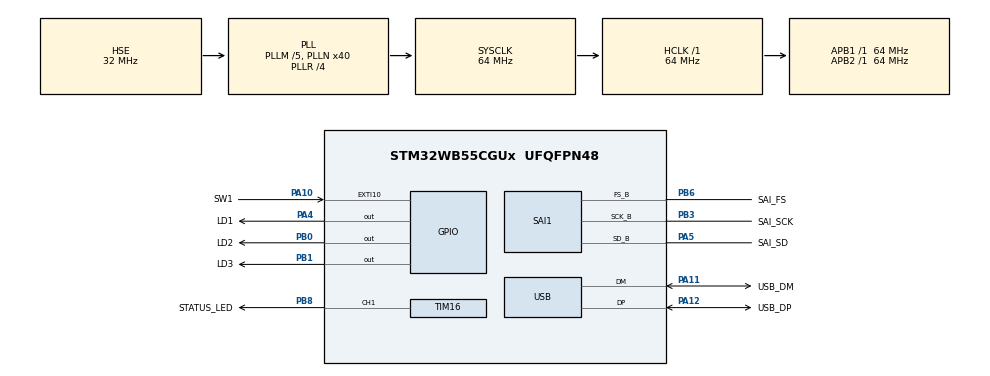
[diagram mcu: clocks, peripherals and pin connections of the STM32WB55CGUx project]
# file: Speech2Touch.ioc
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Dma.Request0=SAI1_B
Dma.SAI1_B.0.Direction=DMA_PERIPH_TO_MEMORY
Dma.SAI1_B.0.EventEnable=DISABLE
Dma.SAI1_B.0.Instance=DMA2_Channel1
Dma.SAI1_B.0.MemDataAlignment=DMA_MDATAALIGN_WORD
Dma.SAI1_B.0.MemInc=DMA_MINC_ENABLE
Dma.SAI1_B.0.Mode=DMA_CIRCULAR
Dma.SAI1_B.0.PeriphDataAlignment=DMA_PDATAALIGN_WORD
Dma.SAI1_B.0.PeriphInc=DMA_PINC_DISABLE
Dma.SAI1_B.0.Polarity=HAL_DMAMUX_REQ_GEN_RISING
Dma.SAI1_B.0.Priority=DMA_PRIORITY_VERY_HIGH
Dma.SAI1_B.0.RequestNumber=1
Dma.SAI1_B.0.SignalID=NONE
Dma.SAI1_B.0.SyncEnable=DISABLE
Dma.SAI1_B.0.SyncPolarity=HAL_DMAMUX_SYNC_NO_EVENT
Dma.SAI1_B.0.SyncRequestNumber=1
Dma.SAI1_B.0.SyncSignalID=NONE
Mcu.Family=STM32WB
Mcu.Name=STM32WB55CGUx
Mcu.Package=UFQFPN48
NVIC.DMA2_Channel1_IRQn=true\:0\:0\:false\:false\:true\:false\:false\:true\:true
NVIC.EXTI15_10_IRQn=true\:15\:0\:true\:false\:true\:false\:true\:true\:true
NVIC.PriorityGroup=NVIC_PRIORITYGROUP_4
NVIC.SAI1_IRQn=true\:1\:0\:true\:false\:true\:false\:true\:true\:true
NVIC.TIM1_TRG_COM_TIM17_IRQn=true\:15\:0\:false\:false\:true\:false\:false\:true\:true
NVIC.TIM1_UP_TIM16_IRQn=true\:0\:0\:false\:false\:true\:false\:true\:true\:true
NVIC.TimeBase=TIM1_TRG_COM_TIM17_IRQn
NVIC.TimeBaseIP=TIM17
NVIC.USB_LP_IRQn=true\:0\:0\:false\:false\:true\:false\:true\:true\:true
OSC_IN.Mode=HSE-External-Oscillator
OSC_IN.Signal=RCC_OSC_IN
OSC_OUT.Mode=HSE-External-Oscillator
OSC_OUT.Signal=RCC_OSC_OUT
PA10.GPIO_Label=SW1
PA10.GPIO_ModeDefaultEXTI=GPIO_MODE_IT_FALLING
PA10.GPIO_PuPd=GPIO_PULLUP
PA10.Signal=GPXTI10
PA11.GPIO_Label=USB_DM
PA11.Mode=Device
PA11.Signal=USB_DM
PA12.GPIO_Label=USB_DP
PA12.Mode=Device
PA12.Signal=USB_DP
PA13.GPIO_Label=SWDIO
PA13.Mode=Serial_Wire
PA13.Signal=SYS_JTMS-SWDIO
PA14.GPIO_Label=SWCLK
PA14.Mode=Serial_Wire
PA14.Signal=SYS_JTCK-SWCLK
PA4.GPIO_Label=LD1
PA4.PinState=GPIO_PIN_SET
PA4.Signal=GPIO_Output
PA5.GPIO_Label=SAI_SD
PA5.GPIO_PuPd=GPIO_NOPULL
PA5.Mode=SAI_B_Master
PA5.Signal=SAI1_SD_B
PB0.GPIO_Label=LD2
PB0.PinState=GPIO_PIN_SET
PB0.Signal=GPIO_Output
PB1.GPIO_Label=LD3
PB1.PinState=GPIO_PIN_SET
PB1.Signal=GPIO_Output
PB3.GPIO_Label=SAI_SCK
PB3.Mode=SAI_B_Master
PB3.Signal=SAI1_SCK_B
PB6.GPIO_Label=SAI_FS
PB6.Mode=SAI_B_Master
PB6.Signal=SAI1_FS_B
PB8.GPIO_Label=STATUS_LED
PB8.Signal=S_TIM16_CH1
ProjectManager.HeapSize=0x200
ProjectManager.StackSize=0x400
ProjectManager.TargetToolchain=CMake
RCC.ADCFreq_Value=51200000
RCC.AHB2CLKDivider=RCC_SYSCLK_DIV2
RCC.AHBFreq_Value=64000000
RCC.APB1Freq_Value=64000000
RCC.APB1TimFreq_Value=64000000
RCC.APB2Freq_Value=64000000
RCC.APB2TimFreq_Value=64000000
RCC.APB3Freq_Value=16000000
RCC.CK48CLockSelection=RCC_USBCLKSOURCE_HSI48
RCC.Cortex2_Div=SYSTICK_CLKSOURCE_HCLK_DIV8
RCC.CortexFreq_Value=64000000
RCC.HCLKFreq_Value=64000000
RCC.HSE_VALUE=32000000
RCC.HSI48_VALUE=48000000
RCC.HSI_VALUE=16000000
RCC.LSE_VALUE=32768
RCC.MSIClockRange=RCC_MSIRANGE_10
RCC.PLLM=RCC_PLLM_DIV5
RCC.PLLN=40
RCC.PLLR=RCC_PLLR_DIV4
RCC.PLLSAI1N=16
RCC.PLLSAI1P=RCC_PLLP_DIV25
RCC.PLLSourceVirtual=RCC_PLLSOURCE_HSE
RCC.SYSCLKFreq_VALUE=64000000
RCC.SYSCLKSource=RCC_SYSCLKSOURCE_PLLCLK
RCC.USBFreq_Value=48000000
RCC.VCOOutputFreq_Value=256000000
SAI1.AudioFrequency-SAI_B_Master=SAI_AUDIO_FREQUENCY_16K
SAI1.AudioMode-SAI_B_Master=SAI_MODEMASTER_RX
SAI1.BasicDataSize-SAI_B_Master=SAI_PROTOCOL_DATASIZE_32BIT
SAI1.BasicProtocol-SAI_B_Master=SAI_I2S_STANDARD
SAI1.ErrorAudioFreq-SAI_B_Master=0.0 %
SAI1.FIFOThreshold-SAI_B_Master=SAI_FIFOTHRESHOLD_HF
SAI1.InitProtocol-SAI_B_Master=Enable
SAI1.Instance-SAI_B_Master=SAI$Index_Block_B
SAI1.MClockEnable-SAI_B_Master=SAI_MASTERCLOCK_DISABLE
SAI1.MonoStereoMode-SAI_B_Master=SAI_MONOMODE
SAI1.NoDivider-SAI_B_Master=SAI_MASTERDIVIDER_ENABLE
SAI1.OutputDrive-SAI_B_Master=SAI_OUTPUTDRIVE_ENABLE
SAI1.RealAudioFreq-SAI_B_Master=16.0 KHz
SAI1.VirtualMode-SAI_B_Master=VM_MASTER
SAI1.VirtualProtocol-SAI_B_BASIC=VM_BASIC_PROTOCOL
SH.S_TIM16_CH1.0=TIM16_CH1,PWM Generation1 CH1
STMicroelectronics.X-CUBE-AZRTOS-WB.2.0.0.MAX_POWER_IN_MILLI_AMPER=500
STMicroelectronics.X-CUBE-AZRTOS-WB.2.0.0.TX_APP_GENERATE_INIT_CODE=true
STMicroelectronics.X-CUBE-AZRTOS-WB.2.0.0.TX_APP_MEM_POOL_SIZE=(8*1024)
STMicroelectronics.X-CUBE-AZRTOS-WB.2.0.0.ThreadXCcRTOSJjThreadXJjCore=true
STMicroelectronics.X-CUBE-AZRTOS-WB.2.0.0.USBD_COMPOSITE_USE_IAD=0
STMicroelectronics.X-CUBE-AZRTOS-WB.2.0.0.USBD_HID_CHID_EPIN_FS_MPS=4
STMicroelectronics.X-CUBE-AZRTOS-WB.2.0.0.USBD_PID=22352
STMicroelectronics.X-CUBE-AZRTOS-WB.2.0.0.USBXCcUSBJjUSBXJjCoreSystem=true
STMicroelectronics.X-CUBE-AZRTOS-WB.2.0.0.USBXCcUSBJjUSBXJjUXOoDeviceOoClassOoHIDOoCore=true
STMicroelectronics.X-CUBE-AZRTOS-WB.2.0.0.USBXCcUSBJjUSBXJjUXOoDeviceOoClassOoHIDOoCustom=true
STMicroelectronics.X-CUBE-AZRTOS-WB.2.0.0.USBXCcUSBJjUSBXJjUXOoDeviceOoControllers=true
STMicroelectronics.X-CUBE-AZRTOS-WB.2.0.0.USBXCcUSBJjUSBXJjUXOoDeviceOoCoreStack=true
STMicroelectronics.X-CUBE-AZRTOS-WB.2.0.0.USBX_DEVICE_APP_THREAD_PRIO=20
STMicroelectronics.X-CUBE-AZRTOS-WB.2.0.0.USBX_DEVICE_SYS_SIZE=4*1024
STMicroelectronics.X-CUBE-AZRTOS-WB.2.0.0.UX_DEBUG_LOG_SIZE=256
STMicroelectronics.X-CUBE-AZRTOS-WB.2.0.0.UX_DEVICE_APP_MEM_POOL_SIZE=(7*1024)
STMicroelectronics.X-CUBE-AZRTOS-WB.2.0.0.UX_DEVICE_BIDIRECTIONAL_ENDPOINT_SUPPORT=0
STMicroelectronics.X-CUBE-AZRTOS-WB.2.0.0.UX_DEVICE_CLASS_HID_INTERRUPT_OUT_SUPPORT=0
STMicroelectronics.X-CUBE-AZRTOS-WB.2.0.0.UX_ENABLE_ASSERT=1
STMicroelectronics.X-CUBE-AZRTOS-WB.2.0.0.UX_ENFORCE_SAFE_ALIGNMENT=1
STMicroelectronics.X-CUBE-AZRTOS-WB.2.0.0.UX_MAX_DEVICE_ENDPOINTS=1
STMicroelectronics.X-CUBE-AZRTOS-WB.2.0.0.UX_MAX_DEVICE_INTERFACES=1
STMicroelectronics.X-CUBE-AZRTOS-WB.2.0.0.UX_SLAVE_REQUEST_DATA_MAX_LENGTH=512
STMicroelectronics.X-CUBE-AZRTOS-WB.2.0.0_IsAnAzureRtosMw=true
TIM16.AutoReloadPreload=TIM_AUTORELOAD_PRELOAD_ENABLE
TIM16.Channel=TIM_CHANNEL_1
TIM16.Period=999
TIM16.Prescaler=63
TIM16.Pulse=500
VP_MEMORYMAP_VS_MEMORYMAP.Mode=CurAppReg
VP_SAI1_VP_$IpInstance_SAIB_SAI_BASIC.Mode=SAI_B_BASIC
VP_STMicroelectronics.X-CUBE-AZRTOS-WB_VS_RTOSJjThreadX_6.2.0_2.0.0.Mode=RTOSJjThreadX
VP_STMicroelectronics.X-CUBE-AZRTOS-WB_VS_USBJjUSBX_6.2.0_2.0.0.Mode=USBJjUSBX
VP_SYS_VS_tim17.Mode=TIM17
VP_TIM16_VS_ClockSourceINT.Mode=Enable_Timer
board=custom

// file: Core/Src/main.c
/* USER CODE BEGIN Header */
/**
 ******************************************************************************
 * @file           : main.c
 * @brief          : Main program body
 ******************************************************************************
 * @attention
 *
 * Copyright (c) 2025 STMicroelectronics.
 * All rights reserved.
 *
 * This software is licensed under terms that can be found in the LICENSE file
 * in the root directory of this software component.
 * If no LICENSE file comes with this software, it is provided AS-IS.
 *
 ******************************************************************************
 */
/* USER CODE END Header */
#include "main.h"

#include "app_threadx.h"
#include "dma.h"
#include "gpio.h"
#include "memorymap.h"
#include "sai.h"
#include "tim.h"
#include "usb.h"

/* USER CODE BEGIN Includes */
#include "led.h"
#include "log.h"
#include "speech.h"
#include "touch.h"
#include "touch_targets.h"
#include "ux_api.h"

/* USER CODE END Includes */

void SystemClock_Config(void);
void PeriphCommonClock_Config(void);
/* USER CODE BEGIN PFP */
// extern uint8_t USBD_CUSTOM_HID_SendReport(USBD_HandleTypeDef *pdev, uint8_t *report, uint16_t len);

#ifndef AUDIO_OVER_RTT
#include "SEGGER_RTT.h"

int _write(int le, char *ptr, int len)
{
  (void)le; // Unused parameter
  SEGGER_RTT_Write(0, ptr, len);
  return len;
}
#endif

/* USER CODE END PFP */

/* USER CODE BEGIN 0 */

#include "touch_mapper.h"
// Button callback
void HAL_GPIO_EXTI_Callback(uint16_t GPIO_Pin)
{
  log_info("Button pressed: %d", GPIO_Pin);

  static LED_STATE_T led_state = LED_STATE_IDLE;

  LED_SetState(led_state);

  // Loop through states until LED_STATE_ERROR
  led_state = (led_state + 1) % (LED_STATE_ERROR + 1);
}

/* USER CODE END 0 */

int main(void)
{

  /* MCU Configuration--------------------------------------------------------*/

  /* Reset of all peripherals, Initializes the Flash interface and the Systick. */
  HAL_Init();

  /* Configure the system clock */
  SystemClock_Config();

  /* Configure the peripherals common clocks */
  PeriphCommonClock_Config();

  /* Initialize all configured peripherals */
  MX_GPIO_Init();
  MX_DMA_Init();
  MX_SAI1_Init();
  MX_USB_PCD_Init();
  MX_TIM16_Init();
  /* USER CODE BEGIN 2 */

  // Setup SW1 for interrupt
  log_info("Startup");
  /* USER CODE END 2 */

  MX_ThreadX_Init();

  /* We should never get here as control is now taken by the scheduler */

  /* Infinite loop */
  /* USER CODE BEGIN WHILE */

  // SPEECH_Init();

  while (1)
  {
    /*
    // Wait for button press, then send a touch report
    if (HAL_GPIO_ReadPin(SW1_GPIO_Port, SW1_Pin) == GPIO_PIN_RESET)
    {
      // Light up LED
      LED_SetState(LED_2, 1);
      HAL_Delay(10); // Debounce delay

      static uint8_t counter = 0;
      counter = (counter + 10) % 100;

      // Map the 0-99 counter to our 0-10000 coordinate space
      touch_report.x = counter * 100;
      touch_report.y = counter * 100;

      printf("Button pressed, sending tap at: X=%u, Y=%u\n", touch_report.x, touch_report.y);

      // --- Send "Touch Down" Report ---
      touch_report.state = 0x01; // Set Tip Switch bit to 1
      // USBD_CUSTOM_HID_SendReport(&hUsbDeviceFS, (uint8_t *)&touch_report, sizeof(touch_report));

      HAL_Delay(30); // Host needs a moment to process the "down" state before the "up"

      // --- Send "Touch Up" Report ---
      touch_report.state = 0x00; // Set Tip Switch bit to 0
      // USBD_CUSTOM_HID_SendReport(&hUsbDeviceFS, (uint8_t *)&touch_report, sizeof(touch_report));

      // Wait for the button to be physically released before allowing another press
      while (HAL_GPIO_ReadPin(SW1_GPIO_Port, SW1_Pin) == GPIO_PIN_RESET)
        ;

      LED_SetState(LED_2, 0);
      HAL_Delay(50); // Debounce the release
    }
*/
    // SPEECH_Process();

    /* USER CODE END WHILE */

  }
}

void SystemClock_Config(void)
{
  RCC_OscInitTypeDef RCC_OscInitStruct = {0};
  RCC_ClkInitTypeDef RCC_ClkInitStruct = {0};

  /** Configure the main internal regulator output voltage
   */
  __HAL_PWR_VOLTAGESCALING_CONFIG(PWR_REGULATOR_VOLTAGE_SCALE1);

  /** Initializes the RCC Oscillators according to the specified parameters
   * in the RCC_OscInitTypeDef structure.
   */
  RCC_OscInitStruct.OscillatorType = RCC_OSCILLATORTYPE_HSI48 | RCC_OSCILLATORTYPE_HSI | RCC_OSCILLATORTYPE_HSE;
  RCC_OscInitStruct.HSEState = RCC_HSE_ON;
  RCC_OscInitStruct.HSIState = RCC_HSI_ON;
  RCC_OscInitStruct.HSI48State = RCC_HSI48_ON;
  RCC_OscInitStruct.HSICalibrationValue = RCC_HSICALIBRATION_DEFAULT;
  RCC_OscInitStruct.PLL.PLLState = RCC_PLL_ON;
  RCC_OscInitStruct.PLL.PLLSource = RCC_PLLSOURCE_HSE;
  RCC_OscInitStruct.PLL.PLLM = RCC_PLLM_DIV5;
  RCC_OscInitStruct.PLL.PLLN = 40;
  RCC_OscInitStruct.PLL.PLLP = RCC_PLLP_DIV2;
  RCC_OscInitStruct.PLL.PLLR = RCC_PLLR_DIV4;
  RCC_OscInitStruct.PLL.PLLQ = RCC_PLLQ_DIV2;
  if (HAL_RCC_OscConfig(&RCC_OscInitStruct) != HAL_OK)
  {
    Error_Handler();
  }

  /** Configure the SYSCLKSource, HCLK, PCLK1 and PCLK2 clocks dividers
   */
  RCC_ClkInitStruct.ClockType = RCC_CLOCKTYPE_HCLK4 | RCC_CLOCKTYPE_HCLK2 | RCC_CLOCKTYPE_HCLK | RCC_CLOCKTYPE_SYSCLK
                                | RCC_CLOCKTYPE_PCLK1 | RCC_CLOCKTYPE_PCLK2;
  RCC_ClkInitStruct.SYSCLKSource = RCC_SYSCLKSOURCE_PLLCLK;
  RCC_ClkInitStruct.AHBCLKDivider = RCC_SYSCLK_DIV1;
  RCC_ClkInitStruct.APB1CLKDivider = RCC_HCLK_DIV1;
  RCC_ClkInitStruct.APB2CLKDivider = RCC_HCLK_DIV1;
  RCC_ClkInitStruct.AHBCLK2Divider = RCC_SYSCLK_DIV2;
  RCC_ClkInitStruct.AHBCLK4Divider = RCC_SYSCLK_DIV1;

  if (HAL_RCC_ClockConfig(&RCC_ClkInitStruct, FLASH_LATENCY_3) != HAL_OK)
  {
    Error_Handler();
  }
}

void PeriphCommonClock_Config(void)
{
  RCC_PeriphCLKInitTypeDef PeriphClkInitStruct = {0};

  /** Initializes the peripherals clock
   */
  PeriphClkInitStruct.PeriphClockSelection = RCC_PERIPHCLK_SMPS;
  PeriphClkInitStruct.SmpsClockSelection = RCC_SMPSCLKSOURCE_HSI;
  PeriphClkInitStruct.SmpsDivSelection = RCC_SMPSCLKDIV_RANGE1;

  if (HAL_RCCEx_PeriphCLKConfig(&PeriphClkInitStruct) != HAL_OK)
  {
    Error_Handler();
  }
}

void HAL_TIM_PeriodElapsedCallback(TIM_HandleTypeDef *htim)
{
  if (htim->Instance == TIM17)
  {
    HAL_IncTick();
  }
  /* USER CODE BEGIN Callback 1 */
  else if (htim->Instance == TIM16)
  {
    LED_TimerCallback(htim);
  }

  /* USER CODE END Callback 1 */
}

void Error_Handler(void)
{
  __disable_irq();
  while (1)
  {
  }
}

#ifdef USE_FULL_ASSERT
/**
 * @brief  Reports the name of the source file and the source line number
 *         where the assert_param error has occurred.
 * @param  file: pointer to the source file name
 * @param  line: assert_param error line source number
 * @retval None
 */
void assert_failed(uint8_t *file, uint32_t line)
{
  /* USER CODE BEGIN 6 */
  log_fatal("Asssertion failed at file: %s on line %d", file, line);

  /* User can add his own implementation to report the file name and line number,
     ex: printf("Wrong parameters value: file %s on line %d\r\n", file, line) */
  /* USER CODE END 6 */
}
#endif /* USE_FULL_ASSERT */
